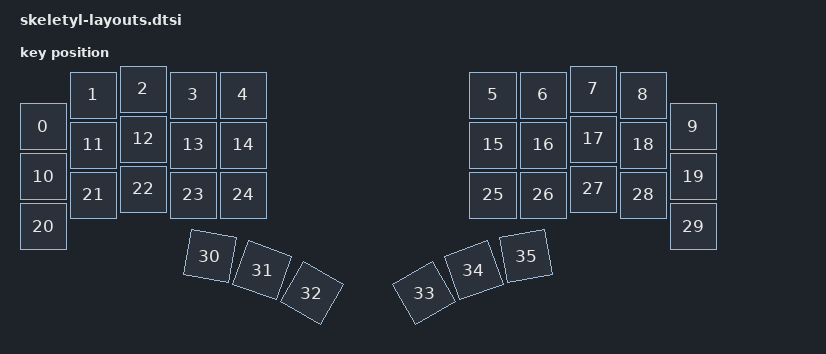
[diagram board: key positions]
#include <physical_layouts.dtsi>

/ {
    default_layout: physical_layout_0 {
        compatible = "zmk,physical-layout";
        display-name = "Default Layout";
        keys  //                     w   h    x    y     rot    rx    ry
            = <&key_physical_attrs 100 100    0   75       0     0     0>
            , <&key_physical_attrs 100 100  100   12       0     0     0>
            , <&key_physical_attrs 100 100  200    0       0     0     0>
            , <&key_physical_attrs 100 100  300   12       0     0     0>
            , <&key_physical_attrs 100 100  400   12       0     0     0>
            , <&key_physical_attrs 100 100  900   12       0     0     0>
            , <&key_physical_attrs 100 100 1000   12       0     0     0>
            , <&key_physical_attrs 100 100 1100    0       0     0     0>
            , <&key_physical_attrs 100 100 1200   12       0     0     0>
            , <&key_physical_attrs 100 100 1300   75       0     0     0>
            , <&key_physical_attrs 100 100    0  175       0     0     0>
            , <&key_physical_attrs 100 100  100  112       0     0     0>
            , <&key_physical_attrs 100 100  200  100       0     0     0>
            , <&key_physical_attrs 100 100  300  112       0     0     0>
            , <&key_physical_attrs 100 100  400  112       0     0     0>
            , <&key_physical_attrs 100 100  900  112       0     0     0>
            , <&key_physical_attrs 100 100 1000  112       0     0     0>
            , <&key_physical_attrs 100 100 1100  100       0     0     0>
            , <&key_physical_attrs 100 100 1200  112       0     0     0>
            , <&key_physical_attrs 100 100 1300  175       0     0     0>
            , <&key_physical_attrs 100 100    0  275       0     0     0>
            , <&key_physical_attrs 100 100  100  212       0     0     0>
            , <&key_physical_attrs 100 100  200  200       0     0     0>
            , <&key_physical_attrs 100 100  300  212       0     0     0>
            , <&key_physical_attrs 100 100  400  212       0     0     0>
            , <&key_physical_attrs 100 100  900  212       0     0     0>
            , <&key_physical_attrs 100 100 1000  212       0     0     0>
            , <&key_physical_attrs 100 100 1100  200       0     0     0>
            , <&key_physical_attrs 100 100 1200  212       0     0     0>
            , <&key_physical_attrs 100 100 1300  275       0     0     0>
            , <&key_physical_attrs 100 100  225  325    1000   275  1000>
            , <&key_physical_attrs 100 100  225  325    2000   275  1000>
            , <&key_physical_attrs 100 100  225  325    3000   275  1000>
            , <&key_physical_attrs 100 100 1075  325  (-3000) 1125  1000>
            , <&key_physical_attrs 100 100 1075  325  (-2000) 1125  1000>
            , <&key_physical_attrs 100 100 1075  325  (-1000) 1125  1000>
        ;
    };
};
